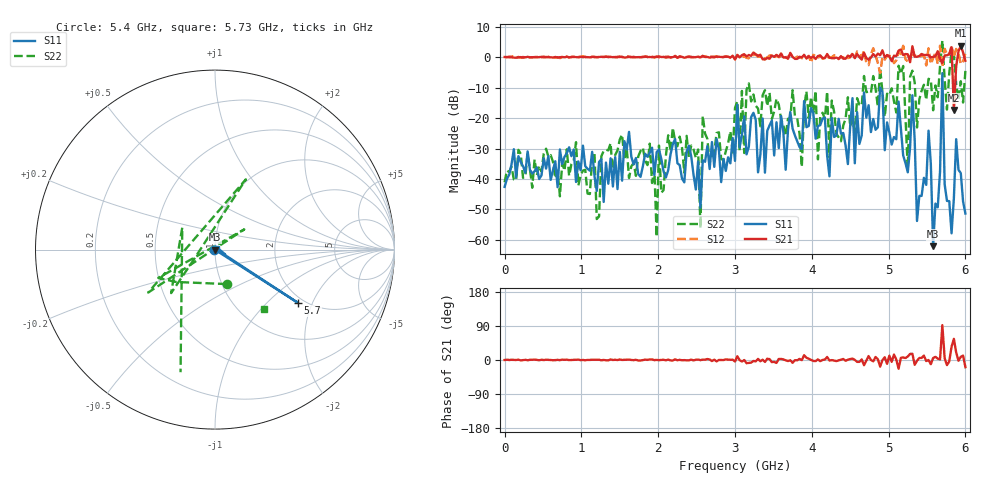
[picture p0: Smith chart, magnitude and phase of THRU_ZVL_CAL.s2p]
#  HZ  S  DB  R  50.0
! Rohde & Schwarz ZVL13 2Ports - Version 3.20 - 1303.6509k13 SN: 100953
! Date: 2024-10-09 07:57:13
! Data & Calibration Information:
! Trc1:S11(TOSM) Trc4:S21(TOSM) Trc2:S12(TOSM) Trc3:S22(TOSM)
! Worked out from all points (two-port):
!   201 points, 9 kHz to 6 GHz, reference 50 ohm
!   highest |S21| = 3.81 dB at 5.94 GHz (marker M1); lowest = -17.4 dB at 5.85 GHz (marker M2)
!   |S21| within 3 dB of the highest: 3.22 GHz to 3.282 GHz (62.32 MHz wide, 1.92 % of centre); 5.903 GHz to 5.978 GHz (74.86 MHz wide, 1.26 % of centre) (the widest 2 of 20)
!   lowest |S11| = -62.1 dB at 5.58 GHz (marker M3), VSWR 1.00, Z = 49.9 - j0.00573 ohm
!   |S11| at or under -10 dB: start of sweep to 4.89 GHz; 4.891 GHz to 5.696 GHz (804.2 MHz wide, 15.2 % of centre); 5.704 GHz to end of sweep
!   |S22| runs from -59.0 to 5.5 dB; largest |S21 - S12| = 1.8
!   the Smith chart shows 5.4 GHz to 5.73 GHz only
!   S11 on the Smith chart (normalised r, x): 5.4 GHz: 0.99, -0.01; 5.7 GHz: 1.85, -1.57; 5.73 GHz: 1.02, +0.00
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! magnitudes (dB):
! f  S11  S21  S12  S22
! 9 kHz  -42.6  0.1  0.0  -41.1
! 1.02 GHz  -29.0  0.0  0.3  -37.3
! 1.89 GHz  -31.4  0.1  0.2  -28.4
! 1.98 GHz  -31.2  0.1  0.3  -59.0
! 2.01 GHz  -30.3  0.3  0.0  -29.0
! 2.52 GHz  -34.2  0.2  0.1  -30.3
! 2.55 GHz  -49.5  0.0  0.0  -56.3
! 2.58 GHz  -33.8  0.5  0.3  -19.3
! 3 GHz  -34.1  -0.7  -0.7  -16.7
! 4.02 GHz  -18.3  0.2  0.8  -18.1
! 5.01 GHz  -24.7  0.2  0.5  -12.5
! 5.19 GHz  -32.3  0.7  3.8  -2.9
! 5.25 GHz  -37.8  1.0  -1.4  -36.6
! 5.31 GHz  -12.5  3.6  0.8  -4.4
! 5.4 GHz  -45.5  0.4  0.2  -13.9
! 5.52 GHz  -24.1  0.7  2.9  -7.1
! 5.58 GHz  -62.1  0.1  -0.3  -17.4
! 5.7 GHz  -5.2  -1.9  -3.2  5.5
! 5.73 GHz  -41.8  0.6  2.8  -7.3
! 5.85 GHz  -46.3  -17.4  -0.1  1.0
! 5.94 GHz  -38.1  3.8  -2.2  -7.9
! 6 GHz  -51.4  -1.2  1.4  -4.5
